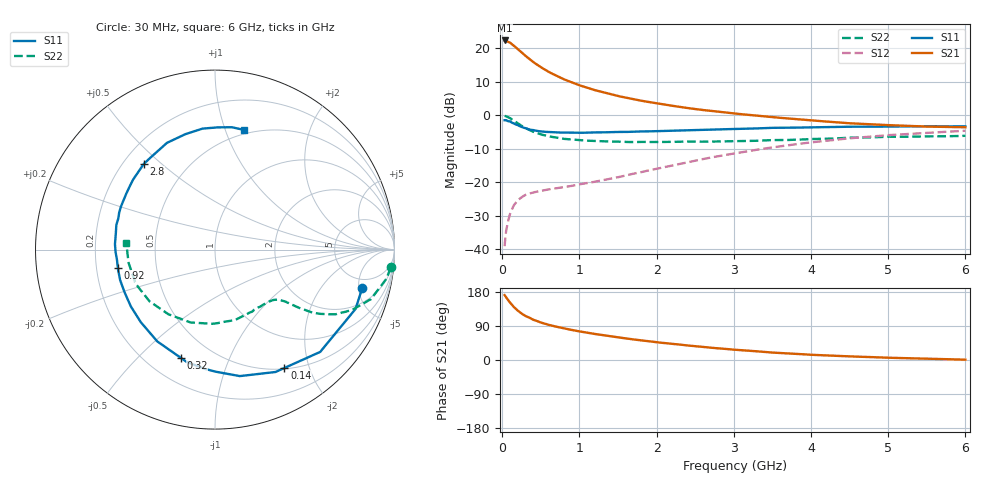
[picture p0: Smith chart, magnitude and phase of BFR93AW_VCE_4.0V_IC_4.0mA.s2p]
! Infineon Technologies  Discrete & RF Semiconductors
! BFR93AW
! VCE =  4.0 V,  IC =  4.0 mA
! Common Emitter S-Parameters:  Nov 2015
# GHz  S  MA  R  50
!  f  S11  S21  S12  S22
! GHz  MAG  ANG  MAG  ANG  MAG  ANG  MAG  ANG
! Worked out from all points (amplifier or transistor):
!   206 points, 30 MHz to 6 GHz, reference 50 ohm
!   highest |S21| = 22.4 dB at 30 MHz (marker M1)
!   |S21| within 3 dB of that: start of sweep to 221.1 MHz
!   unconditionally stable (mu >= 1): 1.015 GHz to 2.292 GHz
!   at 200 MHz: K = 0.26, MSG = 22.6 dB, |S12| = -25.3 dB
!   at 1.56 GHz: K = 1.11, MAG = 9.8 dB, |S12| = -18.1 dB
!   at 6 GHz: K = 0.95, MSG = 0.5 dB, |S12| = -4.6 dB
!   S11 on the Smith chart (normalised r, x): 30 MHz: 3.54, -5.45; 140 MHz: 0.51, -1.63; 320 MHz: 0.34, -0.68; 920 MHz: 0.29, -0.09; 2.8 GHz: 0.28, +0.44; 6 GHz: 0.46, +1.17
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0.03  0.8478 -14.8  13.11 171.1  0.0112 83.6  0.9839 -5.8
0.05  0.8499 -22.9  13.03 165.0  0.019 77.7  0.97 -9.5
0.1  0.8176 -44.2  12.19 151.5  0.0338 68.3  0.9109 -17.7
0.14  0.7646 -59.6  11.18 142.2  0.0432 60.7  0.8488 -22.5
0.15  0.7606 -63.7  10.97 139.6  0.0456 59.3  0.8343 -23.8
0.2  0.7182 -78.9  9.78 130.3  0.0543 53.8  0.7628 -28.2
0.24  0.68 -89.8  8.862 124.1  0.059 49.7  0.7102 -30.4
0.3  0.6456 -104.1  7.718 116.2  0.0651 46.2  0.6468 -32.9
0.32  0.6325 -107.5  7.407 114.5  0.0663 45.5  0.6314 -33.2
0.4  0.6042 -122.2  6.239 106.3  0.0709 43.0  0.5701 -34.7
0.5  0.5782 -135.7  5.221 98.8  0.0748 42.0  0.5193 -35.8
0.6  0.5658 -146.0  4.45 92.8  0.0787 42.2  0.4876 -36.4
0.7  0.5572 -154.7  3.899 87.8  0.0817 43.8  0.4657 -37.4
0.92  0.5505 -169.3  3.04 78.6  0.0899 47.6  0.4352 -40.0
1.04  0.5506 -175.7  2.718 74.1  0.0952 49.9  0.4245 -42.0
1.5  0.5667 165.9  1.944 59.8  0.1196 58.7  0.4061 -51.4
2.02  0.5827 149.3  1.498 46.4  0.1618 64.1  0.4018 -64.8
2.8  0.6208 129.7  1.133 30.7  0.2466 64.5  0.4088 -86.5
3.1  0.6298 122.6  1.041 25.9  0.282 62.5  0.4138 -95.3
4.1  0.6655 102.7  0.824 13.0  0.4072 52.0  0.4454 -129.1
5.1  0.6819 87.4  0.709 5.5  0.5151 38.4  0.4799 -159.7
6  0.6861 76.2  0.665 0.9  0.5897 26.6  0.4959 175.6
